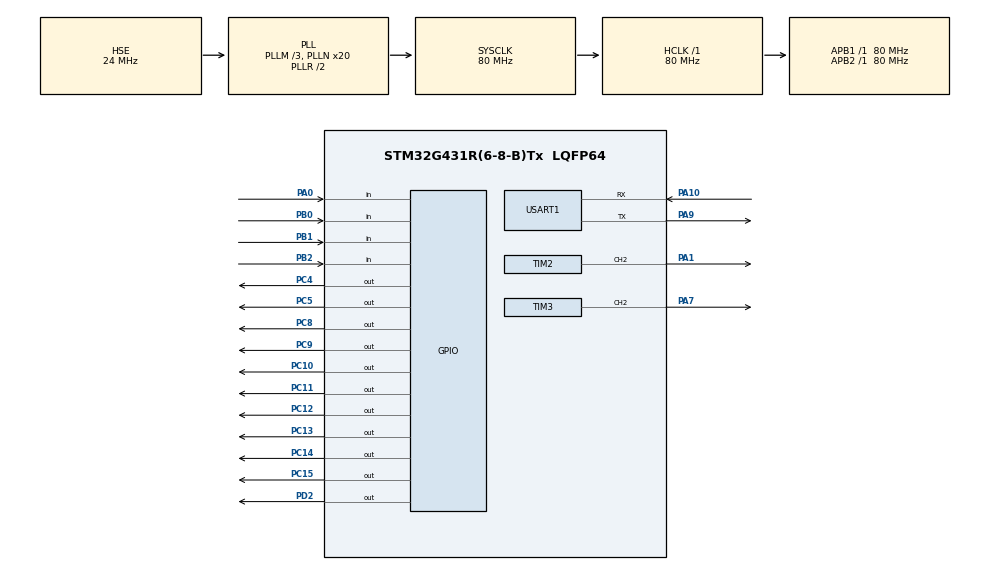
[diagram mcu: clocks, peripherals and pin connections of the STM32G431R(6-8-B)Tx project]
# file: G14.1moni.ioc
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Mcu.Family=STM32G4
Mcu.Name=STM32G431R(6-8-B)Tx
Mcu.Package=LQFP64
NVIC.PriorityGroup=NVIC_PRIORITYGROUP_4
NVIC.USART1_IRQn=true\:0\:0\:true\:false\:true\:true\:true\:true
PA0.GPIO_PuPd=GPIO_PULLUP
PA0.Signal=GPIO_Input
PA1.Signal=S_TIM2_CH2
PA10.Mode=Asynchronous
PA10.Signal=USART1_RX
PA13.Mode=Serial_Wire
PA13.Signal=SYS_JTMS-SWDIO
PA14.Mode=Serial_Wire
PA14.Signal=SYS_JTCK-SWCLK
PA7.Signal=S_TIM3_CH2
PA9.Mode=Asynchronous
PA9.Signal=USART1_TX
PB0.GPIO_PuPd=GPIO_PULLUP
PB0.Signal=GPIO_Input
PB1.GPIO_PuPd=GPIO_PULLUP
PB1.Signal=GPIO_Input
PB2.GPIO_PuPd=GPIO_PULLUP
PB2.Signal=GPIO_Input
PC10.Signal=GPIO_Output
PC11.Signal=GPIO_Output
PC12.Signal=GPIO_Output
PC13.Signal=GPIO_Output
PC14-OSC32_IN.Signal=GPIO_Output
PC15-OSC32_OUT.Signal=GPIO_Output
PC4.Signal=GPIO_Output
PC5.Signal=GPIO_Output
PC8.Signal=GPIO_Output
PC9.Signal=GPIO_Output
PD2.Signal=GPIO_Output
PF0-OSC_IN.Mode=HSE-External-Oscillator
PF0-OSC_IN.Signal=RCC_OSC_IN
PF1-OSC_OUT.Mode=HSE-External-Oscillator
PF1-OSC_OUT.Signal=RCC_OSC_OUT
ProjectManager.HeapSize=0x200
ProjectManager.StackSize=0x400
ProjectManager.TargetToolchain=MDK-ARM V5.32
RCC.ADC12Freq_Value=80000000
RCC.AHBFreq_Value=80000000
RCC.APB1Freq_Value=80000000
RCC.APB1TimFreq_Value=80000000
RCC.APB2Freq_Value=80000000
RCC.APB2TimFreq_Value=80000000
RCC.CortexFreq_Value=80000000
RCC.EXTERNAL_CLOCK_VALUE=12288000
RCC.HCLKFreq_Value=80000000
RCC.HSE_VALUE=24000000
RCC.HSI48_VALUE=48000000
RCC.HSI_VALUE=16000000
RCC.LSE_VALUE=32768
RCC.PLLM=RCC_PLLM_DIV3
RCC.PLLN=20
RCC.PLLSourceVirtual=RCC_PLLSOURCE_HSE
RCC.SYSCLKFreq_VALUE=80000000
RCC.SYSCLKSource=RCC_SYSCLKSOURCE_PLLCLK
RCC.USBFreq_Value=80000000
RCC.VCOOutputFreq_Value=160000000
SH.S_TIM2_CH2.0=TIM2_CH2,PWM Generation2 CH2
SH.S_TIM3_CH2.0=TIM3_CH2,PWM Generation2 CH2
TIM2.Channel-PWM\ Generation2\ CH2=TIM_CHANNEL_2
TIM2.PeriodNoDither=1000-1
TIM2.Prescaler=80-1
TIM2.PulseNoDither_2=100
TIM3.Channel-PWM\ Generation2\ CH2=TIM_CHANNEL_2
TIM3.PeriodNoDither=1000-1
TIM3.Prescaler=80-1
TIM3.PulseNoDither_2=100
USART1.VirtualMode-Asynchronous=VM_ASYNC
VP_SYS_VS_DBSignals.Mode=DisableDeadBatterySignals
VP_TIM2_VS_ClockSourceINT.Mode=Internal
VP_TIM3_VS_ClockSourceINT.Mode=Internal
board=custom

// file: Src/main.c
/* USER CODE BEGIN Header */
/**
  ******************************************************************************
  * @file           : main.c
  * @brief          : Main program body
  ******************************************************************************
  * @attention
  *
  * Copyright (c) 2025 STMicroelectronics.
  * All rights reserved.
  *
  * This software is licensed under terms that can be found in the LICENSE file
  * in the root directory of this software component.
  * If no LICENSE file comes with this software, it is provided AS-IS.
  *
  ******************************************************************************
  */
/* USER CODE END Header */
#include "main.h"
#include "tim.h"
#include "usart.h"
#include "gpio.h"

/* USER CODE BEGIN Includes */
#include "stdio.h"
#include "string.h"
#include "lcd.h"
/* USER CODE END Includes */

/* USER CODE BEGIN PTD */
uint8_t KEY;     //按键的键值
uint8_t state;   //界面状态
char buf[400];    //数据缓冲区
//uint8_t tuf[1]="%";    //存储%的数组
uint16_t ZKB1=10;   //PA1占空比
uint16_t ZKB2=10;   //PA7占空比
uint32_t psc1=1000;       //PA1频率
uint32_t psc2=1000;       //PA7频率
uint8_t  uart_key_stand;   //串口选择还是按键选择标志位
uint8_t RX_buff[1];    //串口数据缓冲区
uint8_t stand;      //串口数据接收数量
uint8_t mand;  //串口数据执行函数标志位
uint8_t ucled;   //LED灯标志位

/* USER CODE END PTD */

/* USER CODE BEGIN PD */
//重定义函数
int fputc(int ch,FILE *f)
{
   HAL_UART_Transmit(&huart1,(uint8_t *)&ch,1,50);
    return ch;
}
/* USER CODE END PD */

void SystemClock_Config(void);
/* USER CODE BEGIN PFP */

//LED处理函数
void led_display(uint8_t led)
{
	HAL_GPIO_WritePin(GPIOD,GPIO_PIN_2,1);
	HAL_GPIO_WritePin(GPIOC,GPIO_PIN_8|GPIO_PIN_9|GPIO_PIN_10|GPIO_PIN_11|
	GPIO_PIN_12|GPIO_PIN_13|GPIO_PIN_14|GPIO_PIN_15,1);
	HAL_GPIO_WritePin(GPIOC,led<<8,0);
	HAL_GPIO_WritePin(GPIOD,GPIO_PIN_2,0);
}
//按键扫描函数
uint8_t Key_scan()
{
   static uint8_t key=1;
	 HAL_Delay(10);
	if(key==1&&(HAL_GPIO_ReadPin(GPIOB,GPIO_PIN_0)==0||HAL_GPIO_ReadPin(GPIOB,GPIO_PIN_1)==0||HAL_GPIO_ReadPin(GPIOB,GPIO_PIN_2)==0||HAL_GPIO_ReadPin(GPIOA,GPIO_PIN_0)==0))
	{
	   key=0;

		if(HAL_GPIO_ReadPin(GPIOB,GPIO_PIN_0)==0)
		{
			return 1;
		}
		if(HAL_GPIO_ReadPin(GPIOB,GPIO_PIN_1)==0)
		{
			return 2;
		}
		if(HAL_GPIO_ReadPin(GPIOB,GPIO_PIN_2)==0)
		{
			return 3;
		}
		if(HAL_GPIO_ReadPin(GPIOA,GPIO_PIN_0)==0)
		{
			return 4;
		}
	}
	if(key==0&&HAL_GPIO_ReadPin(GPIOB,GPIO_PIN_0)==1&&HAL_GPIO_ReadPin(GPIOB,GPIO_PIN_1)==1&&HAL_GPIO_ReadPin(GPIOB,GPIO_PIN_2)==1&&HAL_GPIO_ReadPin(GPIOA,GPIO_PIN_0)==1)
	{
	key=1;
	}
	return 0;
}
//lcd显示函数
void lcd_show()
{
  switch(state)
	{
	  case 0:
			LCD_DisplayStringLine(Line2,(uint8_t *)"       PA1        ");
	      	sprintf(buf,"       F:%d HZ     ",psc1);
		  LCD_DisplayStringLine(Line4,(uint8_t *)buf);
		      sprintf(buf,"       D:%d%%         ",ZKB1);
		  LCD_DisplayStringLine(Line6,(uint8_t *)buf);
			    break;
		case 1:

		LCD_DisplayStringLine(Line2,(uint8_t *)"       PA7        ");
		sprintf(buf,"       F:%d HZ     ",psc2);
		LCD_DisplayStringLine(Line4,(uint8_t *)buf);
		sprintf(buf,"       D:%d%%         		",ZKB2);
		LCD_DisplayStringLine(Line6,(uint8_t *)buf);

			break;
		default:
			break;
	}
}
//占空比 频率设置函数
//  ZKB:占空比    f：频率
void PWM_Set(TIM_HandleTypeDef htim,uint32_t channel,uint32_t ZKB,uint32_t f)
{

	uint64_t sys_clk=80000000;  //系统时钟
	uint32_t psc=80-1;          //预分频
	float arr=(sys_clk*1.0)/f/(psc+1)-1;
	float pulse=ZKB*1.0/100*(arr+1);

	  __HAL_TIM_SetAutoreload(&htim,arr);            //设置自动重载值
	  __HAL_TIM_SetCompare(&htim,channel,pulse);        //设置占空比值
   __HAL_TIM_SET_PRESCALER(&htim,psc);          //设置预分频值
}
//按键处理函数
void key_process(uint8_t Key)
{
     switch(Key)
		 {
			 case 1:        //按键B1按下的话控制频率
			 switch(state)
			 {
			   case 0:
//					 printf("%d\r\n",psc1);
					 psc1+=1000;
				    if(psc1>10000)
						{
						psc1=1000;
						}
//
					 PWM_Set(htim2,TIM_CHANNEL_2,ZKB1,psc1);

					 break;
				 case 1:
					  psc2+=1000;
				    if(psc2>10000)
						{
						psc2=1000;
						}
						printf("%d\r\n",psc2);
					 PWM_Set(htim3,TIM_CHANNEL_2,ZKB2,psc2);

					 break;
				 default:
					 break;
			 }
				 break;
			 case 2:    //按键B2按下的话控制占空比
				 switch(state)
				 {
					 case 0:
						 ZKB1=ZKB1+10;
							 if(ZKB1>90)
							 {
							 ZKB1=10;
							 }
			      PWM_Set(htim2,TIM_CHANNEL_2,ZKB1,psc1);
			       break;
					 case 1:
						  ZKB2=ZKB2+10;
							 if(ZKB2>90)
							 {
							 ZKB2=10;
							 }
						 PWM_Set(htim3,TIM_CHANNEL_2,ZKB2,psc2);
						 break;
					 default:
						 break;
		      }
				 break;
			 case 3:				 //按键3按下切换界面状态
				 if(uart_key_stand==0)
				 {
			  state++;
			 if(state>1)
			 {
			 state=0;
			 }
		 }
				 break;
			 case 4:
			HAL_UART_Transmit(&huart1,RX_buff,1,10);
//			 printf("%d",uart_key_stand);
				 uart_key_stand++;
			 if(uart_key_stand>1)
			 {
			 uart_key_stand=0;
			 }
				 break;
			 default:
				 break;
		 }

}
//串口数据处理函数
void uart_pro()
{
	if(uart_key_stand==1)
	{
  if(RX_buff[0]=='@')
	{
	  state=0;
	}
	else if(RX_buff[0]=='#')
	{
	 state=1;

	}
	else
	{
	  printf("ERROR\r\n");
	}
}
}
void led_pro()
{
   if(state==0)
	 {
	   ucled |=1;    //点亮LED1
	 }
	 else
	 {
	 ucled &=~1;   //熄灭LED1
	 }
	 if(state==1)
	 {
	 ucled |=2;        //点亮LED2
	 }
	 else
   {
	 ucled &=~2;    //熄灭LED2
	 }
	 if(uart_key_stand==0)
	 {
	 ucled |=4;     //点亮LED3
	 }
	 else
	 {
	 ucled &=~4;    //熄灭LED3
	 }
	 if(psc1>psc2)
	 {
	   ucled^=1;       //翻转LED1
	 }
	 if(psc1<psc2)
	 {
	   ucled^=2;   //翻转LED2
	 }
	 led_display(ucled);
}
/* USER CODE END PFP */

int main(void)
{

  /* MCU Configuration--------------------------------------------------------*/

  /* Reset of all peripherals, Initializes the Flash interface and the Systick. */
  HAL_Init();

  /* Configure the system clock */
  SystemClock_Config();

  /* Initialize all configured peripherals */
  MX_GPIO_Init();
  MX_TIM2_Init();
  MX_TIM3_Init();
  MX_USART1_UART_Init();
  /* USER CODE BEGIN 2 */

	LCD_Init();
	LCD_Clear(White);
	LCD_SetBackColor(White);
	LCD_SetTextColor(Black);

	HAL_TIM_PWM_Start(&htim3,TIM_CHANNEL_2);
	HAL_TIM_PWM_Start(&htim2,TIM_CHANNEL_2);
__HAL_UART_ENABLE_IT(&huart1,UART_IT_RXNE);

  /* USER CODE END 2 */

  /* Infinite loop */
  /* USER CODE BEGIN WHILE */
  while (1)
  {
		KEY=Key_scan();
		lcd_show();
		key_process(KEY);
		if(mand==1)
		{
		uart_pro();
		mand=0;
		}
		led_pro();
//	  printf("111111111\r\n");

    /* USER CODE END WHILE */

  }
}

void SystemClock_Config(void)
{
  RCC_OscInitTypeDef RCC_OscInitStruct = {0};
  RCC_ClkInitTypeDef RCC_ClkInitStruct = {0};

  /** Configure the main internal regulator output voltage
  */
  HAL_PWREx_ControlVoltageScaling(PWR_REGULATOR_VOLTAGE_SCALE1);

  /** Initializes the RCC Oscillators according to the specified parameters
  * in the RCC_OscInitTypeDef structure.
  */
  RCC_OscInitStruct.OscillatorType = RCC_OSCILLATORTYPE_HSE;
  RCC_OscInitStruct.HSEState = RCC_HSE_ON;
  RCC_OscInitStruct.PLL.PLLState = RCC_PLL_ON;
  RCC_OscInitStruct.PLL.PLLSource = RCC_PLLSOURCE_HSE;
  RCC_OscInitStruct.PLL.PLLM = RCC_PLLM_DIV3;
  RCC_OscInitStruct.PLL.PLLN = 20;
  RCC_OscInitStruct.PLL.PLLP = RCC_PLLP_DIV2;
  RCC_OscInitStruct.PLL.PLLQ = RCC_PLLQ_DIV2;
  RCC_OscInitStruct.PLL.PLLR = RCC_PLLR_DIV2;
  if (HAL_RCC_OscConfig(&RCC_OscInitStruct) != HAL_OK)
  {
    Error_Handler();
  }

  /** Initializes the CPU, AHB and APB buses clocks
  */
  RCC_ClkInitStruct.ClockType = RCC_CLOCKTYPE_HCLK|RCC_CLOCKTYPE_SYSCLK
                              |RCC_CLOCKTYPE_PCLK1|RCC_CLOCKTYPE_PCLK2;
  RCC_ClkInitStruct.SYSCLKSource = RCC_SYSCLKSOURCE_PLLCLK;
  RCC_ClkInitStruct.AHBCLKDivider = RCC_SYSCLK_DIV1;
  RCC_ClkInitStruct.APB1CLKDivider = RCC_HCLK_DIV1;
  RCC_ClkInitStruct.APB2CLKDivider = RCC_HCLK_DIV1;

  if (HAL_RCC_ClockConfig(&RCC_ClkInitStruct, FLASH_LATENCY_2) != HAL_OK)
  {
    Error_Handler();
  }
}

/* USER CODE BEGIN 4 */
void HAL_UART_RxHalfCpltCallback(UART_HandleTypeDef *huart)
{
  if(huart->Instance==USART1)
	{
//		uint8_t LED;
//		LED^=1;
		RX_buff[stand]=(uint8_t)(huart1.Instance->RDR&(uint8_t)0x00ff);
		stand++;
	  __HAL_UART_CLEAR_FLAG(&huart1, UART_FLAG_RXNE);
//		led_display(LED);
//		HAL_UART_Transmit(&huart1,RX_buff,1,10);
		if(stand>=1)
		{
			mand=1;
//		memset(RX_BUFF,0,20);
			stand=0;
		}

	}
}
/* USER CODE END 4 */

void Error_Handler(void)
{
  __disable_irq();
  while (1)
  {
  }
}
